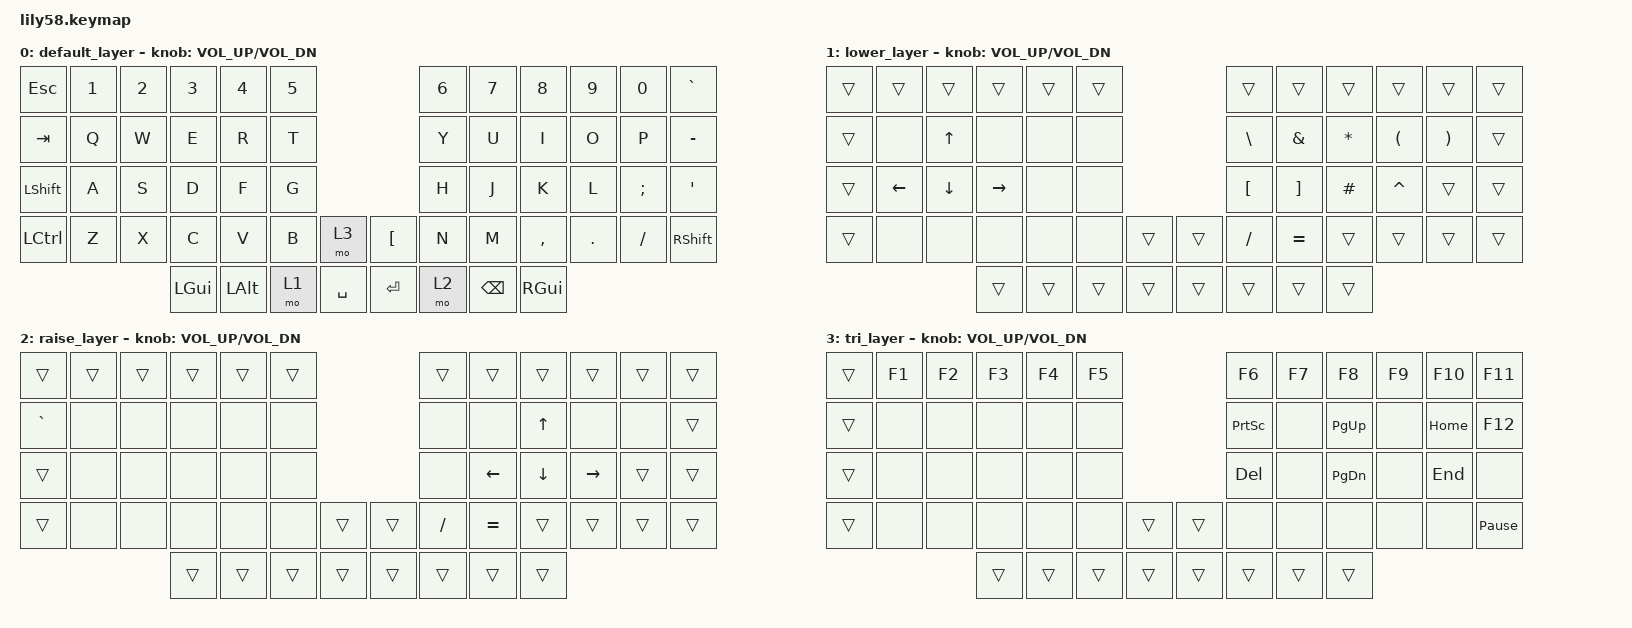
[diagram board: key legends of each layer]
/*
 * Copyright (c) 2020 The ZMK Contributors
 *
 * SPDX-License-Identifier: MIT
 */

#include <behaviors.dtsi>
#include <dt-bindings/zmk/keys.h>
#include <dt-bindings/zmk/bt.h>
#include <dt-bindings/zmk/ext_power.h>

/ {
    keymap {
        compatible = "zmk,keymap";

        // Стандартный слой 
        default_layer {

            bindings = <
// --------------------------------------------------------------------------------------------------------------------------------------------------------------------------------------------------------
// |     ESC     |      1      |      2      |      3      |      4      |      5      |                              |      6      |      7      |      8      |      9      |      0      |      `      |
       &kp ESC       &kp N1        &kp N2        &kp N3        &kp N4        &kp N5                                       &kp N6        &kp N7        &kp N8        &kp N9        &kp N0        &kp GRAVE

// |     TAB     |      Q      |      W      |      E      |      R      |      T      |                              |      Y      |      U      |      I      |      O      |      P      |      -      |
      &kp TAB        &kp Q         &kp W         &kp E         &kp R         &kp T                                        &kp Y         &kp U         &kp I         &kp O         &kp P         &kp MINUS

// |    SHIFT    |      A      |      S      |      D      |      F      |      G      |                              |      H      |      J      |      K      |      L      |      ;      |      '      |
     &kp LSHFT       &kp A         &kp S         &kp D         &kp F         &kp G                                        &kp H         &kp J         &kp K         &kp L         &kp SEMI      &kp SQT

// |    CTRL     |      Z      |      X      |      C      |      V      |      B      |      L3     | |    {         |      N      |      M      |      ,      |      .      |      /      |    SHIFT    |
     &kp LCTRL       &kp Z         &kp X         &kp C         &kp V         &kp B         &mo 3         &kp LBKT          &kp N         &kp M         &kp COMMA     &kp DOT       &kp FSLH    &kp RSHFT

//                                           |     GUI     |     ALT     |     L1      |    SPACE    | |    ENTER     |     L2      |    BSPC     |     GUI     |
                                                &kp LGUI      &kp LALT        &mo 1      &kp SPACE       &kp RET       &mo 2        &kp BSPC       &kp RGUI
            >;

            sensor-bindings = <&inc_dec_kp C_VOL_UP C_VOL_DN>;
        };

        lower_layer {

            bindings = <
// -------------------------------------------------------------------------------------------------------------------------------------------------------------------------------------------------------
// |             |             |             |             |             |             |                             |             |             |             |             |             |             |
        &trans       &trans        &trans        &trans        &trans        &trans                                      &trans        &trans        &trans        &trans        &trans        &trans

// |             |             |      ^      |             |             |             |                             |    '|'      |      &      |      *      |      (      |      )      |             |
        &trans       &none         &kp UP        &none         &none         &none                                      &kp BSLH       &kp AMPS      &kp STAR      &kp LPAR      &kp RPAR      &trans

// |             |     <-      |      v      |     ->      |             |             |                             |      {      |      }      |      #      |      ^      |             |             |
        &trans      &kp LEFT       &kp DOWN     &kp RIGHT     &none         &none                                       &kp LBKT      &kp RBKT      &kp HASH      &kp CARET     &trans        &trans

// |             |             |             |             |             |             |             | |             |      /      |      =      |             |             |             |             |
        &trans       &none         &none         &none         &none         &none         &trans          &trans        &kp FSLH      &kp EQUAL     &trans        &trans        &trans        &trans

//                                           |             |             |             |             | |             |             |             |             |
                                                 &trans        &trans        &trans        &trans          &trans        &trans        &trans        &trans
            >;


            sensor-bindings = <&inc_dec_kp C_VOL_UP C_VOL_DN>;
        };

        raise_layer {

            bindings = <
// -------------------------------------------------------------------------------------------------------------------------------------------------------------------------------------------------------
// |             |             |             |             |             |             |                             |             |             |             |             |             |             |
        &trans       &trans        &trans        &trans        &trans        &trans                                      &trans        &trans        &trans        &trans        &trans        &trans

// |      `      |             |             |             |             |             |                             |             |             |      ^      |             |             |             |
       &kp GRAVE     &none         &none         &none         &none         &none                                       &none         &none         &kp UP        &none         &none         &trans

// |             |             |             |             |             |             |                             |             |      <-     |      v      |      ->     |             |             |
        &trans       &none         &none         &none         &none         &none                                       &none         &kp LEFT      &kp DOWN      &kp RIGHT     &trans        &trans

// |             |             |             |             |             |             |             | |             |      /      |      +      |             |             |             |             |
        &trans       &none         &none         &none         &none         &none         &trans          &trans        &kp FSLH      &kp EQUAL     &trans         &trans       &trans        &trans

//                                           |             |             |             |             | |             |             |             |             |
                                                 &trans        &trans        &trans        &trans          &trans        &trans        &trans        &trans
            >;

            sensor-bindings = <&inc_dec_kp C_VOL_UP C_VOL_DN>;
        };

        tri_layer {

            bindings = <
// -------------------------------------------------------------------------------------------------------------------------------------------------------------------------------------------------------
// |             |      F1     |     F2      |     F3      |     F4      |     F5      |                             |     F6      |      F7     |     F8      |     F9      |     F10     |     F11     |
       &trans        &kp F1       &kp F2        &kp F3        &kp F4        &kp F5                                      &kp F6         &kp F7       &kp F8        &kp F9        &kp F10       &kp F11     

// |             |             |             |             |             |             |                             |    PSCRN    |             |    PG_UP    |             |   HOME      |     F12     |
       &trans       &none         &none         &none         &none         &none                                     &kp PSCRN       &none        &kp PG_UP      &none         &kp HOME      &kp F12

// |             |             |             |             |             |             |                             |     DEL     |             |    PG_DN    |             |    END      |             |
       &trans       &none         &none         &none         &none         &none                                      &kp DEL        &none        &kp PG_DN      &none         &kp END       &none

// |             |             |             |             |             |             |             | |             |             |             |             |             |             |    PAUSE    |
       &trans       &none         &none         &none         &none         &none         &trans          &trans        &none         &none        &none          &none         &none         &kp PAUSE_BREAK

//                                           |             |             |             |             | |             |             |             |             |
                                                &trans        &trans        &trans        &trans          &trans        &trans        &trans        &trans
            >;

            sensor-bindings = <&inc_dec_kp C_VOL_UP C_VOL_DN>;
        };

    };
};
